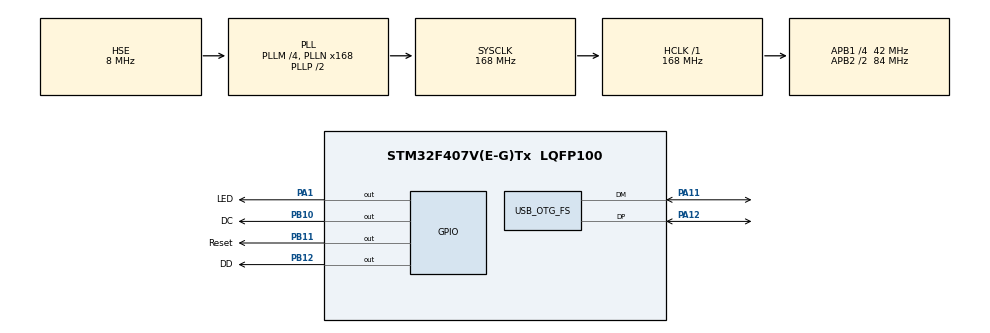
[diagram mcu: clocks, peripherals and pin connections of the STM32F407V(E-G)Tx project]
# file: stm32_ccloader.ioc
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Mcu.Family=STM32F4
Mcu.Name=STM32F407V(E-G)Tx
Mcu.Package=LQFP100
NVIC.OTG_FS_IRQn=true\:0\:0\:false\:false\:true\:false\:true\:true
NVIC.PriorityGroup=NVIC_PRIORITYGROUP_4
PA1.GPIO_Label=LED
PA1.GPIO_Speed=GPIO_SPEED_FREQ_HIGH
PA1.Signal=GPIO_Output
PA11.Mode=Device_Only
PA11.Signal=USB_OTG_FS_DM
PA12.Mode=Device_Only
PA12.Signal=USB_OTG_FS_DP
PA13.Mode=Serial_Wire
PA13.Signal=SYS_JTMS-SWDIO
PA14.Mode=Serial_Wire
PA14.Signal=SYS_JTCK-SWCLK
PB10.GPIO_Label=DC
PB10.GPIO_Speed=GPIO_SPEED_FREQ_VERY_HIGH
PB10.Signal=GPIO_Output
PB11.GPIO_Label=Reset
PB11.GPIO_ModeDefaultOutputPP=GPIO_MODE_OUTPUT_OD
PB11.GPIO_PuPd=GPIO_NOPULL
PB11.GPIO_Speed=GPIO_SPEED_FREQ_VERY_HIGH
PB11.Signal=GPIO_Output
PB12.GPIO_Label=DD
PB12.GPIO_ModeDefaultOutputPP=GPIO_MODE_OUTPUT_OD
PB12.GPIO_PuPd=GPIO_PULLUP
PB12.GPIO_Speed=GPIO_SPEED_FREQ_VERY_HIGH
PB12.Signal=GPIO_Output
PH0-OSC_IN.Mode=HSE-External-Oscillator
PH0-OSC_IN.Signal=RCC_OSC_IN
PH1-OSC_OUT.Mode=HSE-External-Oscillator
PH1-OSC_OUT.Signal=RCC_OSC_OUT
ProjectManager.HeapSize=0x200
ProjectManager.StackSize=0x400
ProjectManager.TargetToolchain=STM32CubeIDE
RCC.48MHZClocksFreq_Value=48000000
RCC.AHBFreq_Value=168000000
RCC.APB1CLKDivider=RCC_HCLK_DIV4
RCC.APB1Freq_Value=42000000
RCC.APB1TimFreq_Value=84000000
RCC.APB2CLKDivider=RCC_HCLK_DIV2
RCC.APB2Freq_Value=84000000
RCC.APB2TimFreq_Value=168000000
RCC.CortexFreq_Value=168000000
RCC.HCLKFreq_Value=168000000
RCC.HSE_VALUE=8000000
RCC.HSI_VALUE=16000000
RCC.LSE_VALUE=32768
RCC.PLLM=4
RCC.PLLN=168
RCC.PLLQ=7
RCC.SYSCLKFreq_VALUE=168000000
RCC.SYSCLKSource=RCC_SYSCLKSOURCE_PLLCLK
RCC.VCOOutputFreq_Value=336000000
USB_DEVICE.CLASS_NAME_FS=CDC
USB_DEVICE.VirtualMode-CDC_FS=Cdc
USB_DEVICE.VirtualModeFS=Cdc_FS
USB_OTG_FS.VirtualMode=Device_Only
VP_USB_DEVICE_VS_USB_DEVICE_CDC_FS.Mode=CDC_FS
board=custom

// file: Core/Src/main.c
/* USER CODE BEGIN Header */
/**
 ******************************************************************************
 * @file           : main.c
 * @brief          : Main program body
 ******************************************************************************
 * @attention
 *
 * Copyright (c) 2022 STMicroelectronics.
 * All rights reserved.
 *
 * This software is licensed under terms that can be found in the LICENSE file
 * in the root directory of this software component.
 * If no LICENSE file comes with this software, it is provided AS-IS.
 *
 ******************************************************************************
 */
/* USER CODE END Header */
#include "main.h"
#include "usb_device.h"

/* USER CODE BEGIN Includes */
#include "usbd_cdc_if.h"
/* USER CODE END Includes */

/* USER CODE BEGIN PD */

// Start addresses on DUP (Increased buffer size improves performance)
#define ADDR_BUF0                   0x0000 // Buffer (512 bytes)
#define ADDR_DMA_DESC_0             0x0200 // DMA descriptors (8 bytes)
#define ADDR_DMA_DESC_1             (ADDR_DMA_DESC_0 + 8)

// DMA channels used on DUP
#define CH_DBG_TO_BUF0              0x01   // Channel 0
#define CH_BUF0_TO_FLASH            0x02   // Channel 1

// Debug commands
#define CMD_CHIP_ERASE              0x10
#define CMD_WR_CONFIG               0x19
#define CMD_RD_CONFIG               0x24
#define CMD_READ_STATUS             0x30
#define CMD_RESUME                  0x4C
#define CMD_DEBUG_INSTR_1B          (0x54|1)
#define CMD_DEBUG_INSTR_2B          (0x54|2)
#define CMD_DEBUG_INSTR_3B          (0x54|3)
#define CMD_BURST_WRITE             0x80
#define CMD_GET_CHIP_ID             0x68

// Debug status bitmasks
#define STATUS_CHIP_ERASE_BUSY_BM   0x80 // New debug interface
#define STATUS_PCON_IDLE_BM         0x40
#define STATUS_CPU_HALTED_BM        0x20
#define STATUS_PM_ACTIVE_BM         0x10
#define STATUS_HALT_STATUS_BM       0x08
#define STATUS_DEBUG_LOCKED_BM      0x04
#define STATUS_OSC_STABLE_BM        0x02
#define STATUS_STACK_OVERFLOW_BM    0x01

// DUP registers (XDATA space address)
#define DUP_DBGDATA                 0x6260  // Debug interface data buffer
#define DUP_FCTL                    0x6270  // Flash controller
#define DUP_FADDRL                  0x6271  // Flash controller addr
#define DUP_FADDRH                  0x6272  // Flash controller addr
#define DUP_FWDATA                  0x6273  // Clash controller data buffer
#define DUP_CLKCONSTA               0x709E  // Sys clock status
#define DUP_CLKCONCMD               0x70C6  // Sys clock configuration
#define DUP_MEMCTR                  0x70C7  // Flash bank xdata mapping
#define DUP_DMA1CFGL                0x70D2  // Low byte, DMA config ch. 1
#define DUP_DMA1CFGH                0x70D3  // Hi byte , DMA config ch. 1
#define DUP_DMA0CFGL                0x70D4  // Low byte, DMA config ch. 0
#define DUP_DMA0CFGH                0x70D5  // Low byte, DMA config ch. 0
#define DUP_DMAARM                  0x70D6  // DMA arming register

// Commands to Bootloader
#define SBEGIN                0x01
#define SDATA                 0x02
#define SRSP                  0x03
#define SEND                  0x04
#define ERRO                  0x05
#define WAITING               0x00
#define RECEIVING             0x01

/* USER CODE END PD */

/* USER CODE BEGIN PM */

//! Convert XREG register declaration to an XDATA integer address
//#define XREG(addr)       ((uint8_t volatile __xdata *) 0)[addr]
//#define FCTL            XREG( 0x6270 )
//#define XREG_TO_INT(a)      ((uint16_t)(&(a)))
/* USER CODE END PM */

/* USER CODE BEGIN PV */
en_state_t state = WAIT_FOR_START;
uint8_t request_data_msg = SRSP;
uint8_t Done = 0;
uint16_t addr = 0x0000;
uint8_t Verify = 0;
uint8_t revision = 0;
uint8_t extra_buf[514];
//! DUP DMA descriptor
const uint8_t dma_desc_0[8] =
{
// Debug Interface -> Buffer
		HIBYTE(DUP_DBGDATA),// src[15:8]
		LOBYTE(DUP_DBGDATA),            // src[7:0]
		HIBYTE(ADDR_BUF0),              // dest[15:8]
		LOBYTE(ADDR_BUF0),              // dest[7:0]
		0,                              // len[12:8] - filled in later
		0,                              // len[7:0]
		31,                             // trigger: DBG_BW
		0x11                            // increment destination
		};
//! DUP DMA descriptor
const uint8_t dma_desc_1[8] =
{
// Buffer -> Flash controller
		HIBYTE(ADDR_BUF0),// src[15:8]
		LOBYTE(ADDR_BUF0),              // src[7:0]
		HIBYTE(DUP_FWDATA),             // dest[15:8]
		LOBYTE(DUP_FWDATA),             // dest[7:0]
		0,                              // len[12:8] - filled in later
		0,                              // len[7:0]
		18,                             // trigger: FLASH
		0x42,                           // increment source
		};

/* USER CODE END PV */

void SystemClock_Config(void);
static void MX_GPIO_Init(void);
/* USER CODE BEGIN PFP */

void receive_callback(uint8_t *Buf, uint32_t *Len);
void set_state(en_state_t new_state);
en_state_t get_state(void);
void write_debug_byte(uint8_t data);
uint8_t read_debug_byte(void);
uint8_t wait_dup_ready(void);
uint8_t debug_command(uint8_t cmd, uint8_t *cmd_bytes, uint16_t num_cmd_bytes);
void debug_init(void);
uint8_t read_chip_id(void);
void burst_write_block(uint8_t *src, uint16_t num_bytes);
void chip_erase(void);
void write_xdata_memory_block(uint16_t address, const uint8_t *values,
		uint16_t num_bytes);
void write_xdata_memory(uint16_t address, uint8_t value);
uint8_t read_xdata_memory(uint16_t address);
void read_flash_memory_block(uint8_t bank, uint16_t flash_addr,
		uint16_t num_bytes, uint8_t *values);
void write_flash_memory_block(uint8_t *src, uint32_t start_addr,
		uint16_t num_bytes);
void RunDUP(void);

/* USER CODE END PFP */

int main(void)
{

	/* MCU Configuration--------------------------------------------------------*/

	/* Reset of all peripherals, Initializes the Flash interface and the Systick. */
	HAL_Init();

	/* Configure the system clock */
	SystemClock_Config();

	/* Initialize all configured peripherals */
	MX_GPIO_Init();
	MX_USB_DEVICE_Init();
	/* USER CODE BEGIN 2 */
	//digitalWrite(LED, LOW);
	HAL_GPIO_WritePin(LED_GPIO_Port, LED_Pin, GPIO_PIN_SET);
	HAL_GPIO_WritePin(Reset_GPIO_Port, Reset_Pin, GPIO_PIN_SET);

	/* USER CODE END 2 */

	/* Infinite loop */
	/* USER CODE BEGIN WHILE */
	while (1)
	{

		uint8_t chip_id = 0;
		uint8_t debug_config = 0;
		uint8_t flag = 0;

		switch (get_state())
		{
		case INITIALZATION:
		{
			debug_init();
			chip_id = read_chip_id();
			if (chip_id == 0)
			{
				uint8_t error_msg = ERRO;
				CDC_Transmit_FS(&error_msg, 1);
				return 1; // No chip detected, run loop again.
			}

			RunDUP();
			debug_init();

			chip_erase();
			RunDUP();
			debug_init();

			// Switch DUP to external crystal osc. (XOSC) and wait for it to be stable.
			// This is recommended if XOSC is available during programming. If
			// XOSC is not available, comment out these two lines.
			write_xdata_memory(DUP_CLKCONCMD, 0x80);
			while (read_xdata_memory(DUP_CLKCONSTA) != 0x80)
				;

			// Enable DMA (Disable DMA_PAUSE bit in debug configuration)
			debug_config = 0x22;
			debug_command(CMD_WR_CONFIG, &debug_config, 1);
			state = FLASHING;
			break;
		}
		case FLASHING:
		{

			if (flag == 0)
			{
				CDC_Transmit_FS(&request_data_msg, 1);
				HAL_GPIO_WritePin(LED_GPIO_Port, LED_Pin, GPIO_PIN_SET);
				flag = 1;
			}

			while (!Done)
			{

			}
			HAL_GPIO_WritePin(LED_GPIO_Port, LED_Pin, GPIO_PIN_RESET);
			RunDUP();
			set_state(WAIT_FOR_START);
			return 0;

			break;
		}
		default:
		{
			break;
		}

		}

	}

	/* USER CODE END WHILE */

}

void SystemClock_Config(void)
{
	RCC_OscInitTypeDef RCC_OscInitStruct =
	{ 0 };
	RCC_ClkInitTypeDef RCC_ClkInitStruct =
	{ 0 };

	/** Configure the main internal regulator output voltage
	 */
	__HAL_RCC_PWR_CLK_ENABLE();
	__HAL_PWR_VOLTAGESCALING_CONFIG(PWR_REGULATOR_VOLTAGE_SCALE1);

	/** Initializes the RCC Oscillators according to the specified parameters
	 * in the RCC_OscInitTypeDef structure.
	 */
	RCC_OscInitStruct.OscillatorType = RCC_OSCILLATORTYPE_HSE;
	RCC_OscInitStruct.HSEState = RCC_HSE_ON;
	RCC_OscInitStruct.PLL.PLLState = RCC_PLL_ON;
	RCC_OscInitStruct.PLL.PLLSource = RCC_PLLSOURCE_HSE;
	RCC_OscInitStruct.PLL.PLLM = 4;
	RCC_OscInitStruct.PLL.PLLN = 168;
	RCC_OscInitStruct.PLL.PLLP = RCC_PLLP_DIV2;
	RCC_OscInitStruct.PLL.PLLQ = 7;
	if (HAL_RCC_OscConfig(&RCC_OscInitStruct) != HAL_OK)
	{
		Error_Handler();
	}

	/** Initializes the CPU, AHB and APB buses clocks
	 */
	RCC_ClkInitStruct.ClockType = RCC_CLOCKTYPE_HCLK | RCC_CLOCKTYPE_SYSCLK
			| RCC_CLOCKTYPE_PCLK1 | RCC_CLOCKTYPE_PCLK2;
	RCC_ClkInitStruct.SYSCLKSource = RCC_SYSCLKSOURCE_PLLCLK;
	RCC_ClkInitStruct.AHBCLKDivider = RCC_SYSCLK_DIV1;
	RCC_ClkInitStruct.APB1CLKDivider = RCC_HCLK_DIV4;
	RCC_ClkInitStruct.APB2CLKDivider = RCC_HCLK_DIV2;

	if (HAL_RCC_ClockConfig(&RCC_ClkInitStruct, FLASH_LATENCY_5) != HAL_OK)
	{
		Error_Handler();
	}
}

static void MX_GPIO_Init(void)
{
	GPIO_InitTypeDef GPIO_InitStruct =
	{ 0 };

	/* GPIO Ports Clock Enable */
	__HAL_RCC_GPIOH_CLK_ENABLE();
	__HAL_RCC_GPIOA_CLK_ENABLE();
	__HAL_RCC_GPIOB_CLK_ENABLE();

	/*Configure GPIO pin Output Level */
	HAL_GPIO_WritePin(LED_GPIO_Port, LED_Pin, GPIO_PIN_RESET);

	/*Configure GPIO pin Output Level */
	HAL_GPIO_WritePin(GPIOB, DC_Pin | Reset_Pin | DD_Pin, GPIO_PIN_RESET);

	/*Configure GPIO pin : LED_Pin */
	GPIO_InitStruct.Pin = LED_Pin;
	GPIO_InitStruct.Mode = GPIO_MODE_OUTPUT_PP;
	GPIO_InitStruct.Pull = GPIO_NOPULL;
	GPIO_InitStruct.Speed = GPIO_SPEED_FREQ_HIGH;
	HAL_GPIO_Init(LED_GPIO_Port, &GPIO_InitStruct);

	/*Configure GPIO pin : DC_Pin */
	GPIO_InitStruct.Pin = DC_Pin;
	GPIO_InitStruct.Mode = GPIO_MODE_OUTPUT_PP;
	GPIO_InitStruct.Pull = GPIO_NOPULL;
	GPIO_InitStruct.Speed = GPIO_SPEED_FREQ_VERY_HIGH;
	HAL_GPIO_Init(DC_GPIO_Port, &GPIO_InitStruct);

	/*Configure GPIO pin : Reset_Pin */
	GPIO_InitStruct.Pin = Reset_Pin;
	GPIO_InitStruct.Mode = GPIO_MODE_OUTPUT_OD;
	GPIO_InitStruct.Pull = GPIO_NOPULL;
	GPIO_InitStruct.Speed = GPIO_SPEED_FREQ_VERY_HIGH;
	HAL_GPIO_Init(Reset_GPIO_Port, &GPIO_InitStruct);

	/*Configure GPIO pin : DD_Pin */
	GPIO_InitStruct.Pin = DD_Pin;
	GPIO_InitStruct.Mode = GPIO_MODE_OUTPUT_OD;
	GPIO_InitStruct.Pull = GPIO_PULLUP;
	GPIO_InitStruct.Speed = GPIO_SPEED_FREQ_VERY_HIGH;
	HAL_GPIO_Init(DD_GPIO_Port, &GPIO_InitStruct);

}

/* USER CODE BEGIN 4 */

/**************************************************************************//**
 * @brief    Writes a byte on the debug interface. Requires DD to be
 *           output when function is called.
 * @param    data    Byte to write
 * @return   None.
 ******************************************************************************/
void write_debug_byte(uint8_t data)
{
	uint8_t i;
	for (i = 0; i < 8; i++)
	{
		// Set clock high and put data on DD line
		//digitalWrite(DC, HIGH);

		if (data & 0x80)
		{
			//digitalWrite(DD, HIGH);
			DC_GPIO_Port->BSRR = DC_Pin | DD_Pin;

			/*HAL_GPIO_WritePin(DC_GPIO_Port, DC_Pin, GPIO_PIN_SET);
			 HAL_GPIO_WritePin(DD_GPIO_Port, DD_Pin, GPIO_PIN_SET);
			 */
		}
		else
		{
			//digitalWrite(DD, LOW);
			DC_GPIO_Port->BSRR = DC_Pin | (DD_Pin << 16U);
			/*HAL_GPIO_WritePin(DC_GPIO_Port, DC_Pin, GPIO_PIN_SET);
			 HAL_GPIO_WritePin(DD_GPIO_Port, DD_Pin, GPIO_PIN_RESET);
			 */
		}
		data <<= 1;
		//digitalWrite(DC, LOW);
		// set clock low (DUP capture flank)
		for (uint8_t nop = 0; nop < 10; nop++)
		{
			asm("NOP");
		}

		//HAL_Delay(1);
		HAL_GPIO_WritePin(DC_GPIO_Port, DC_Pin, GPIO_PIN_RESET);

		for (uint8_t nop = 0; nop < 10; nop++)
		{
			asm("NOP");
		}
		//HAL_Delay(1);
	}
}

/**
 * @brief    Reads a byte from the debug interface. Requires DD to be
 *           input when function is called.
 * @return   Returns the byte read.
 ******************************************************************************/
uint8_t read_debug_byte(void)
{
	uint8_t i;
	uint8_t data = 0x00;
	for (i = 0; i < 8; i++)
	{

		//digitalWrite(DC, HIGH);
		// DC high
		HAL_GPIO_WritePin(DC_GPIO_Port, DC_Pin, GPIO_PIN_SET);
		data <<= 1;

		for (uint8_t nop = 0; nop < 10; nop++)
				{
					asm("NOP");
				}

		//if(HIGH == digitalRead(DD))
		if (HAL_GPIO_ReadPin(DD_GPIO_Port, DD_Pin) == GPIO_PIN_SET)
		{
			data |= 0x01;
		}
		//digitalWrite(DC, LOW);
		// DC low

		HAL_GPIO_WritePin(DC_GPIO_Port, DC_Pin, GPIO_PIN_RESET);

		for (uint8_t nop = 0; nop < 10; nop++)
				{
					asm("NOP");
				}

	}
	return data;
}
/**************************************************************************//**
 * @brief    Function waits for DUP to indicate that it is ready. The DUP will
 *           pulls DD line low when it is ready. Requires DD to be input when
 *           function is called.
 * @return   Returns 0 if function timed out waiting for DD line to go low
 * @return   Returns 1 when DUP has indicated it is ready.
 ******************************************************************************/

uint8_t wait_dup_ready(void)
{
// DUP pulls DD low when ready
	uint16_t count = 0;
//while ((HIGH == digitalRead(DD)) && count < 16)
	while ((HAL_GPIO_ReadPin(DD_GPIO_Port, DD_Pin) == GPIO_PIN_SET)
			&& count < 16)
	{
		// Clock out 8 bits before checking if DD is low again
		read_debug_byte();
		count++;
	}
	return (count == 16) ? 0 : 1;
}

/**************************************************************************//**
 * @brief    Issues a command on the debug interface. Only commands that return
 *           one output byte are supported.
 * @param    cmd             Command byte
 * @param    cmd_bytes       Pointer to the array of data bytes following the
 *                           command byte [0-3]
 * @param    num_cmd_bytes   The number of data bytes (input to DUP) [0-3]
 * @return   Data returned by command
 ******************************************************************************/
uint8_t debug_command(uint8_t cmd, uint8_t *cmd_bytes, uint16_t num_cmd_bytes)
{
	uint16_t i;
	uint8_t output = 0;
// Make sure DD is output
//pinMode(DD, OUTPUT);
// Send command
	write_debug_byte(cmd);
// Send bytes
	for (i = 0; i < num_cmd_bytes; i++)
	{
		write_debug_byte(cmd_bytes[i]);
	}
// Set DD as input
// pinMode(DD, INPUT);
//digitalWrite(DD, HIGH);
	HAL_GPIO_WritePin(DD_GPIO_Port, DD_Pin, GPIO_PIN_SET);
// Wait for data to be ready
	wait_dup_ready();
// Read returned byte
	output = read_debug_byte();
// Set DD as output
//pinMode(DD, OUTPUT);

	return output;
}

/**************************************************************************//**
 * @brief    Resets the DUP into debug mode. Function assumes that
 *           the programmer I/O has already been configured using e.g.
 *           ProgrammerInit().
 * @return   None.
 ******************************************************************************/
void debug_init(void)
{

// Send two flanks on DC while keeping RESET_N low
// All low (incl. RESET_N)
//digitalWrite(DD, LOW);
	HAL_GPIO_WritePin(DD_GPIO_Port, DD_Pin, GPIO_PIN_RESET);
//digitalWrite(DC, LOW);
	HAL_GPIO_WritePin(DC_GPIO_Port, DC_Pin, GPIO_PIN_RESET);
// digitalWrite(RESET, LOW);
	HAL_GPIO_WritePin(Reset_GPIO_Port, Reset_Pin, GPIO_PIN_RESET);
	HAL_Delay(10);   // Wait
//digitalWrite(DC, HIGH);
// DC high
	HAL_GPIO_WritePin(DC_GPIO_Port, DC_Pin, GPIO_PIN_SET);
	HAL_Delay(10);   // Wait
//digitalWrite(DC, LOW);
// DC low
	HAL_GPIO_WritePin(DC_GPIO_Port, DC_Pin, GPIO_PIN_RESET);
	HAL_Delay(10);   // Wait
//digitalWrite(DC, HIGH);
// DC high
	HAL_GPIO_WritePin(DC_GPIO_Port, DC_Pin, GPIO_PIN_SET);
	HAL_Delay(10);   // Wait
//digitalWrite(DC, LOW);
// DC low
	HAL_GPIO_WritePin(DC_GPIO_Port, DC_Pin, GPIO_PIN_RESET);
	HAL_Delay(10);   // Wait
//digitalWrite(RESET, HIGH);
// Release RESET_N
	HAL_GPIO_WritePin(Reset_GPIO_Port, Reset_Pin, GPIO_PIN_SET);
	HAL_Delay(10);   // Wait

}

/**************************************************************************//**
 * @brief    Reads the chip ID over the debug interface using the
 *           GET_CHIP_ID command.
 * @return   Returns the chip id returned by the DUP
 ******************************************************************************/
uint8_t read_chip_id(void)
{
	uint8_t id = 0;

// Make sure DD is output
//pinMode(DD, OUTPUT);
	HAL_Delay(1);
// Send command
	write_debug_byte(CMD_GET_CHIP_ID);
// Set DD as input
//pinMode(DD, INPUT);
//digitalWrite(DD, HIGH);
	HAL_GPIO_WritePin(DD_GPIO_Port, DD_Pin, GPIO_PIN_SET);
	HAL_Delay(5);
// Wait for data to be ready
	if (wait_dup_ready() == 1)
	{
		// Read ID and revision
		id = read_debug_byte(); // ID
		revision = read_debug_byte();      // Revision (discard)
	}
// Set DD as output
//pinMode(DD, OUTPUT);

	return id;
}

/**************************************************************************//**
 * @brief    Sends a block of data over the debug interface using the
 *           BURST_WRITE command.
 * @param    src         Pointer to the array of input bytes
 * @param    num_bytes   The number of input bytes
 * @return   None.
 ******************************************************************************/
void burst_write_block(uint8_t *src, uint16_t num_bytes)
{
	uint16_t i;

// Make sure DD is output
//pinMode(DD, OUTPUT);

	write_debug_byte(CMD_BURST_WRITE | HIBYTE(num_bytes));
	write_debug_byte(LOBYTE(num_bytes));
	for (i = 0; i < num_bytes; i++)
	{
		write_debug_byte(src[i]);
	}

// Set DD as input
//pinMode(DD, INPUT);
//digitalWrite(DD, HIGH);
	HAL_GPIO_WritePin(DD_GPIO_Port, DD_Pin, GPIO_PIN_SET);
// Wait for DUP to be ready
	wait_dup_ready();
	read_debug_byte(); // ignore output
// Set DD as output
//pinMode(DD, OUTPUT);
}

/**************************************************************************//**
 * @brief    Issues a CHIP_ERASE command on the debug interface and waits for it
 *           to complete.
 * @return   None.
 ******************************************************************************/
void chip_erase(void)
{
	volatile uint8_t status;
// Send command
	debug_command(CMD_CHIP_ERASE, 0, 0);

// Wait for status bit 7 to go low
	do
	{
		status = debug_command(CMD_READ_STATUS, 0, 0);
	} while ((status & STATUS_CHIP_ERASE_BUSY_BM));
}

/**************************************************************************//**
 * @brief    Writes a block of data to the DUP's XDATA space.
 * @param    address     XDATA start address
 * @param    values      Pointer to the array of bytes to write
 * @param    num_bytes   Number of bytes to write
 * @return   None.
 ******************************************************************************/
void write_xdata_memory_block(uint16_t address, const uint8_t *values,
		uint16_t num_bytes)
{
	uint8_t instr[3];
	uint16_t i;

// MOV DPTR, address
	instr[0] = 0x90;
	instr[1] = HIBYTE(address);
	instr[2] = LOBYTE(address);
	debug_command(CMD_DEBUG_INSTR_3B, instr, 3);

	for (i = 0; i < num_bytes; i++)
	{
		// MOV A, values[i]
		instr[0] = 0x74;
		instr[1] = values[i];
		debug_command(CMD_DEBUG_INSTR_2B, instr, 2);

		// MOV @DPTR, A
		instr[0] = 0xF0;
		debug_command(CMD_DEBUG_INSTR_1B, instr, 1);

		// INC DPTR
		instr[0] = 0xA3;
		debug_command(CMD_DEBUG_INSTR_1B, instr, 1);
	}
}

/**************************************************************************//**
 * @brief    Writes a byte to a specific address in the DUP's XDATA space.
 * @param    address     XDATA address
 * @param    value       Value to write
 * @return   None.
 ******************************************************************************/
void write_xdata_memory(uint16_t address, uint8_t value)
{
	uint8_t instr[3];

// MOV DPTR, address
	instr[0] = 0x90;
	instr[1] = HIBYTE(address);
	instr[2] = LOBYTE(address);
	debug_command(CMD_DEBUG_INSTR_3B, instr, 3);

// MOV A, values[i]
	instr[0] = 0x74;
	instr[1] = value;
	debug_command(CMD_DEBUG_INSTR_2B, instr, 2);

// MOV @DPTR, A
	instr[0] = 0xF0;
	debug_command(CMD_DEBUG_INSTR_1B, instr, 1);
}

/**************************************************************************//**
 * @brief    Read a byte from a specific address in the DUP's XDATA space.
 * @param    address     XDATA address
 * @return   Value read from XDATA
 ******************************************************************************/
uint8_t read_xdata_memory(uint16_t address)
{
	uint8_t instr[3];

// MOV DPTR, address
	instr[0] = 0x90;
	instr[1] = HIBYTE(address);
	instr[2] = LOBYTE(address);
	debug_command(CMD_DEBUG_INSTR_3B, instr, 3);

// MOVX A, @DPTR
	instr[0] = 0xE0;
	return debug_command(CMD_DEBUG_INSTR_1B, instr, 1);
}

/**************************************************************************//**
 * @brief    Reads 1-32767 bytes from DUP's flash to a given buffer on the
 *           programmer.
 * @param    bank        Flash bank to read from [0-7]
 * @param    address     Flash memory start address [0x0000 - 0x7FFF]
 * @param    values      Pointer to destination buffer.
 * @return   None.
 ******************************************************************************/
void read_flash_memory_block(uint8_t bank, uint16_t flash_addr,
		uint16_t num_bytes, uint8_t *values)
{
	uint8_t instr[3];
	uint16_t i;
	uint16_t xdata_addr = (0x8000 + flash_addr);

// 1. Map flash memory bank to XDATA address 0x8000-0xFFFF
	write_xdata_memory(DUP_MEMCTR, bank);

// 2. Move data pointer to XDATA address (MOV DPTR, xdata_addr)
	instr[0] = 0x90;
	instr[1] = HIBYTE(xdata_addr);
	instr[2] = LOBYTE(xdata_addr);
	debug_command(CMD_DEBUG_INSTR_3B, instr, 3);

	for (i = 0; i < num_bytes; i++)
	{
		// 3. Move value pointed to by DPTR to accumulator (MOVX A, @DPTR)
		instr[0] = 0xE0;
		values[i] = debug_command(CMD_DEBUG_INSTR_1B, instr, 1);

		// 4. Increment data pointer (INC DPTR)
		instr[0] = 0xA3;
		debug_command(CMD_DEBUG_INSTR_1B, instr, 1);
	}
}

/**************************************************************************//**
 * @brief    Writes 4-2048 bytes to DUP's flash memory. Parameter \c num_bytes
 *           must be a multiple of 4.
 * @param    src         Pointer to programmer's source buffer (in XDATA space)
 * @param    start_addr  FLASH memory start address [0x0000 - 0x7FFF]
 * @param    num_bytes   Number of bytes to transfer [4-1024]
 * @return   None.
 ******************************************************************************/
void write_flash_memory_block(uint8_t *src, uint32_t start_addr,
		uint16_t num_bytes)
{
// 1. Write the 2 DMA descriptors to RAM
	write_xdata_memory_block(ADDR_DMA_DESC_0, dma_desc_0, 8);
	write_xdata_memory_block(ADDR_DMA_DESC_1, dma_desc_1, 8);

// 2. Update LEN value in DUP's DMA descriptors
	uint8_t len[2] =
	{ HIBYTE(num_bytes), LOBYTE(num_bytes) };
	write_xdata_memory_block((ADDR_DMA_DESC_0 + 4), len, 2);  // LEN, DBG => ram
	write_xdata_memory_block((ADDR_DMA_DESC_1 + 4), len, 2); // LEN, ram => flash

// 3. Set DMA controller pointer to the DMA descriptors
	write_xdata_memory(DUP_DMA0CFGH, HIBYTE(ADDR_DMA_DESC_0));
	write_xdata_memory(DUP_DMA0CFGL, LOBYTE(ADDR_DMA_DESC_0));
	write_xdata_memory(DUP_DMA1CFGH, HIBYTE(ADDR_DMA_DESC_1));
	write_xdata_memory(DUP_DMA1CFGL, LOBYTE(ADDR_DMA_DESC_1));

// 4. Set Flash controller start address (wants 16MSb of 18 bit address)
	write_xdata_memory(DUP_FADDRH, HIBYTE((start_addr)));  //>>2) ));
	write_xdata_memory(DUP_FADDRL, LOBYTE((start_addr)));  //>>2) ));

// 5. Arm DBG=>buffer DMA channel and start burst write
	write_xdata_memory(DUP_DMAARM, CH_DBG_TO_BUF0);
	burst_write_block(src, num_bytes);

// 6. Start programming: buffer to flash
	write_xdata_memory(DUP_DMAARM, CH_BUF0_TO_FLASH);
	write_xdata_memory(DUP_FCTL, 0x0A);  //0x06

// 7. Wait until flash controller is done
	while (read_xdata_memory(DUP_FCTL) & 0x80);
}

/**************************************************************************//**
 * @brief    Resets the DUP into normal mode.
 * @param    None.
 * @return   None.
 ******************************************************************************/
void RunDUP(void)
{

// Send two flanks on DC while keeping RESET_N low
// All low (incl. RESET_N)

//digitalWrite(DD, LOW);
	HAL_GPIO_WritePin(DD_GPIO_Port, DD_Pin, GPIO_PIN_RESET);
//digitalWrite(DC, LOW);
	HAL_GPIO_WritePin(DC_GPIO_Port, DC_Pin, GPIO_PIN_RESET);
// digitalWrite(RESET, LOW);
	HAL_GPIO_WritePin(Reset_GPIO_Port, Reset_Pin, GPIO_PIN_RESET);
	HAL_Delay(10);   // Wait

// Release RESET_N
	HAL_GPIO_WritePin(Reset_GPIO_Port, Reset_Pin, GPIO_PIN_SET);
	HAL_Delay(10);   // Wait

}

/**************************************************************************//**
 * @brief    Getting state for "state machine".
 * @param    None.
 * @return   State.
 ******************************************************************************/
en_state_t get_state(void)
{
	return state;
}
/**************************************************************************//**
 * @brief    Setting state for "state machine".
 * @param    New state.
 * @return   None.
 ******************************************************************************/
void set_state(en_state_t new_state)
{
	state = new_state;
	return;
}

/**************************************************************************//**
 * @brief    Setting state for "state machine".
 * @param    New state.
 * @return   None.
 ******************************************************************************/
void receive_callback(uint8_t *Buf, uint32_t *Len)
{
	switch (get_state())
	{
	case WAIT_FOR_START:
	{
		if (*Len >= 2)
		{
			if (Buf[0] == SBEGIN)
			{
				Verify = Buf[1];
				set_state(INITIALZATION);
			}
		}
		break;
	}
	case FLASHING:
	{
		static uint8_t sdata_flag = 0;
		if ((Buf[0] == SDATA) || (sdata_flag == 1))  // Incoming bytes are data
		{

			static uint16_t counter = 0;

			if (sdata_flag == 0)
			{
				for (uint16_t i = 0; i < *Len; i++)
				{
					extra_buf[i] = Buf[i + 1];
				}
				counter += *Len - 1;
				//sprintf(extra_buf + counter, Buf[1], *Len);
			}
			else
			{
				for (uint16_t i = 0; i < *Len; i++)
				{
					extra_buf[i + counter] = Buf[i];
				}
				counter += *Len;
			}

			sdata_flag = 1;
			if (counter >= 514)
			{
				uint16_t CheckSum = 0x0000;

				for (uint16_t i = 0; i < 512; i++)
				{
					CheckSum += extra_buf[i];
				}
				uint16_t CheckSum_t = extra_buf[512] << 8 | extra_buf[513];
				if (CheckSum_t != CheckSum)
				{
					uint8_t error_msg = ERRO;
					CDC_Transmit_FS(&error_msg, 1);
					chip_erase();
					return;
				}
				write_flash_memory_block(extra_buf, addr, 512); // src, address, count
				addr += (uint16_t) 128;
				CDC_Transmit_FS(&request_data_msg, 1);
				sdata_flag = 0;
				counter = 0;
			}

		}

		else if (Buf[0] == SEND)   // End receiving firmware
		{
			Done = 1;           // Exit while(1) in main function
			sdata_flag = 0;

		}
		break;
	}

	default:
	{
		break;
	}
	}
}
/* USER CODE END 4 */

void Error_Handler(void)
{
	__disable_irq();
	while (1)
	{
	}
}
